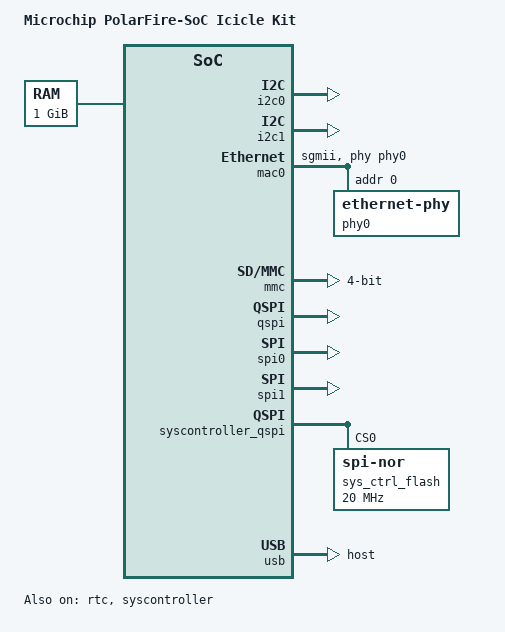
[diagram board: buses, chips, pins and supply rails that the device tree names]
// SPDX-License-Identifier: (GPL-2.0 OR MIT)
/* Copyright (c) 2020-2021 Microchip Technology Inc */

/dts-v1/;

#include "mpfs.dtsi"
#include "mpfs-vauban-fabric.dtsi"

/* Clock frequency (in Hz) of MTIMER */
#define MTIMER_FREQ		1000000

/ {
	model = "Microchip PolarFire-SoC Icicle Kit";
	compatible = "microchip,mpfs-vauban", "microchip,mpfs";

	aliases {
		ethernet0 = &mac1;
		serial0 = &mmuart0;
		serial1 = &mmuart1;
		serial2 = &mmuart2;
		serial3 = &mmuart3;
		serial4 = &mmuart4;
	};

	chosen {
		stdout-path = "serial0:115200n8";
	};

	cpus {
		timebase-frequency = <MTIMER_FREQ>;
	};

	ddrc_cache_lo: memory@80000000 {
		device_type = "memory";
		reg = <0x0 0x80000000 0x0 0x40000000>;
		status = "okay";
	};

	reserved-memory {
		#address-cells = <2>;
		#size-cells = <2>;
		ranges;

		hss_payload: region@BFC00000 {
			reg = <0x0 0xBFC00000 0x0 0x400000>;
			no-map;
		};
	};
};

&gpio2 {
	interrupts = <53>, <53>, <53>, <53>,
		     <53>, <53>, <53>, <53>,
		     <53>, <53>, <53>, <53>,
		     <53>, <53>, <53>, <53>,
		     <53>, <53>, <53>, <53>,
		     <53>, <53>, <53>, <53>,
		     <53>, <53>, <53>, <53>,
		     <53>, <53>, <53>, <53>;
	status = "okay";
};

&i2c0 {
	status = "okay";
};

&i2c1 {
	status = "okay";
};

&mac0 {
	status = "okay";
	phy-mode = "sgmii";
	phy-handle = <&phy0>;

	phy0: ethernet-phy@0 {
		reg = <0>;
	};
};

&mbox {
	status = "okay";
};

&mmc {
	bus-width = <4>;
	disable-wp;
	cap-sd-highspeed;
	cap-mmc-highspeed;
	mmc-ddr-1_8v;
	mmc-hs200-1_8v;
	sd-uhs-sdr12;
	sd-uhs-sdr25;
	sd-uhs-sdr50;
	sd-uhs-sdr104;
	status = "okay";
};

&mmuart0 {
	status = "okay";
};

&mmuart1 {
	status = "okay";
};

&mmuart2 {
	status = "okay";
};

&mmuart3 {
	status = "okay";
};

&mmuart4 {
	status = "okay";
};

&pcie {
	status = "disabled";
};

&qspi {
	status = "okay";
};

&refclk {
	clock-frequency = <125000000>;
};

&rtc {
	status = "okay";
};

&spi0 {
	status = "okay";
};

&spi1 {
	status = "okay";
};

&syscontroller {
	microchip,bitstream-flash = <&sys_ctrl_flash>;
	status = "okay";
};

&syscontroller_qspi {
	status = "okay";

	sys_ctrl_flash: flash@0 { // MT25QL01GBBB8ESF-0SIT
		compatible = "jedec,spi-nor";
		#address-cells = <1>;
		#size-cells = <1>;
		spi-max-frequency = <20000000>;
		spi-rx-bus-width = <1>;
		reg = <0>;
	};
};

&usb {
	status = "okay";
	dr_mode = "host";
};
